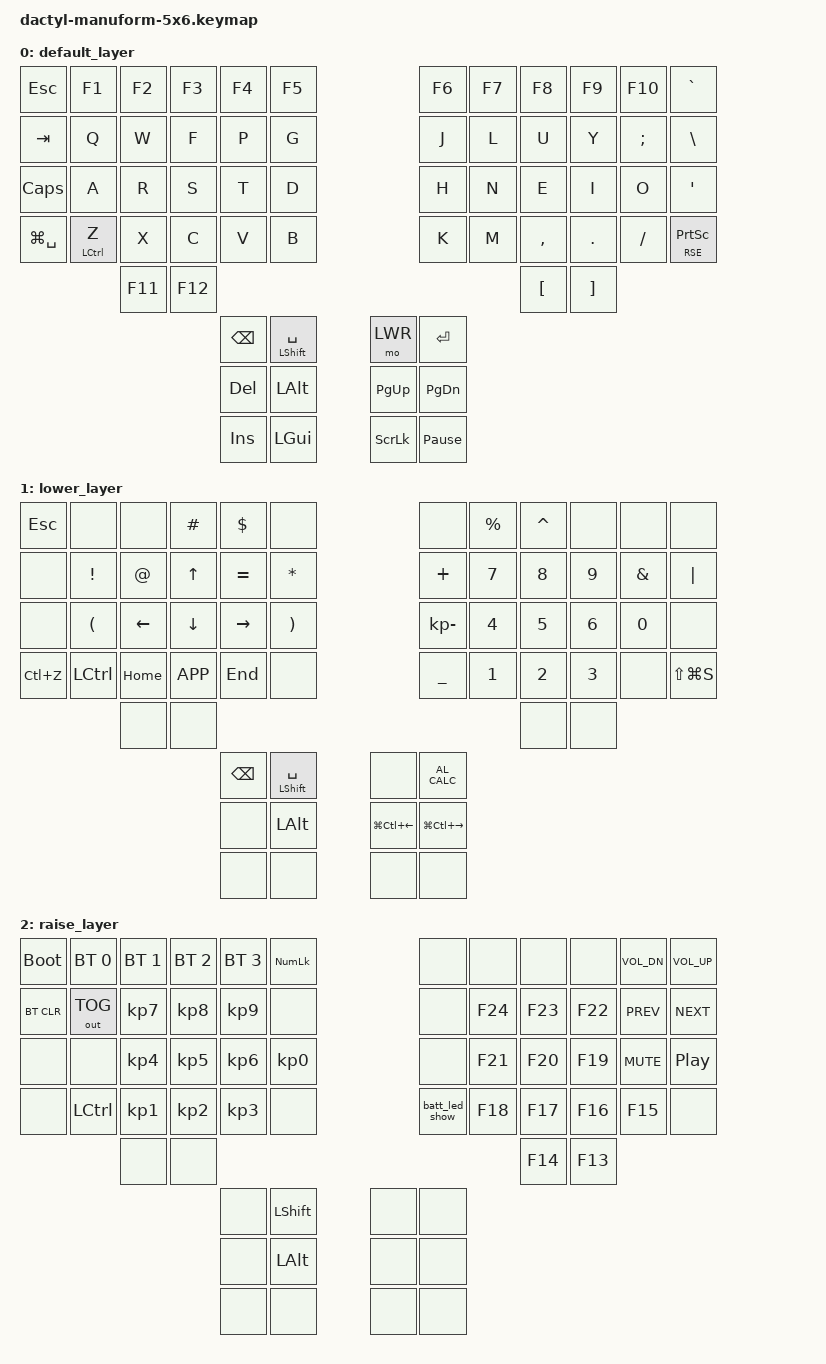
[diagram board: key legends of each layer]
#include <behaviors.dtsi>
#include <dt-bindings/zmk/keys.h>
#include <dt-bindings/zmk/bt.h>
#include <dt-bindings/zmk/outputs.h>

#define DEF 0
#define LWR 1
#define RSE 2

/ {
    behaviors {
        // Show the battery level on the green indicator LED. GLOBAL locality:
        // fires on both halves, each blinking its own LED for its own battery.
        // The node name is kept SHORT (the device name `batshow`, 7 chars) on
        // purpose: ZMK relays a behavior to the peripheral by its device name in
        // a small fixed buffer (ZMK_SPLIT_RUN_BEHAVIOR_DEV_LEN, ~9 bytes). A long
        // name is truncated and the peripheral can't find it, so the right LED
        // never blinks on the hotkey. The `batt_led_show` label is unchanged so
        // the keymap reference below still works.
        batt_led_show: batshow {
            compatible = "zmk,behavior-batt-led";
            #binding-cells = <0>;
        };
    };

    keymap {
        compatible = "zmk,keymap";

        default_layer {
            bindings = <
&kp ESC        &kp F1       &kp F2   &kp F3   &kp F4    &kp F5                       &kp F6     &kp F7   &kp F8     &kp F9   &kp F10   &kp GRAVE
&kp TAB        &kp Q        &kp W    &kp F    &kp P     &kp G                        &kp J      &kp L    &kp U      &kp Y    &kp SEMI  &kp BSLH
&kp CAPS       &kp A        &kp R    &kp S    &kp T     &kp D                        &kp H      &kp N    &kp E      &kp I    &kp O     &kp SQT
&kp LG(SPACE)  &mt LCTRL Z  &kp X    &kp C    &kp V     &kp B                        &kp K      &kp M    &kp COMMA  &kp DOT  &kp FSLH  &lt RSE PSCRN
                            &kp F11  &kp F12                                                             &kp LBKT   &kp RBKT
                                              &kp BSPC  &mt LSHFT SPACE      &mo LWR    &kp RET
                                              &kp DEL   &kp LALT             &kp PG_UP  &kp PG_DN
                                              &kp INS   &kp LGUI             &kp SLCK   &kp PAUSE_BREAK
            >;
        };

        lower_layer {
            bindings = <
&kp ESC     &none      &none      &kp HASH  &kp DLLR   &none                          &none        &kp PRCNT  &kp CARET  &none    &none   &none
&none       &kp EXCL   &kp AT     &kp UP    &kp EQUAL  &kp ASTRK                      &kp PLUS     &kp N7     &kp N8     &kp N9   &kp AMPS  &kp PIPE
&none       &kp LPAR   &kp LEFT   &kp DOWN  &kp RIGHT  &kp RPAR                       &kp KP_MINUS &kp N4     &kp N5     &kp N6   &kp N0    &none
&kp LC(Z)   &kp LCTRL  &kp HOME   &kp K_APP &kp END    &none                          &kp UNDER    &kp N1     &kp N2     &kp N3   &none     &kp LS(LG(S))
                       &none      &none                                                                       &none      &none
                                            &kp BSPC   &mt LSHFT SPACE      &none           &kp C_AL_CALC
                                            &none      &kp LALT             &kp LG(LC(LEFT)) &kp LG(LC(RIGHT))
                                            &none      &none                &none           &none
            >;
        };

        raise_layer {
            bindings = <
&bootloader  &bt BT_SEL 0 &bt BT_SEL 1 &bt BT_SEL 2 &bt BT_SEL 3 &kp KP_NUM            &none   &none &none &none &kp C_VOL_DN &kp C_VOL_UP
&bt BT_CLR   &out OUT_TOG &kp KP_N7    &kp KP_N8    &kp KP_N9    &none                 &none   &kp F24  &kp F23  &kp F22  &kp C_PREV   &kp C_NEXT
&none        &none        &kp KP_N4    &kp KP_N5    &kp KP_N6    &kp KP_N0             &none   &kp F21  &kp F20  &kp F19  &kp C_MUTE   &kp C_PP
&none        &kp LCTRL    &kp KP_N1    &kp KP_N2    &kp KP_N3    &none         &batt_led_show   &kp F18  &kp F17  &kp F16  &kp F15      &none
                          &none        &none                                                            &kp F14  &kp F13
                                                    &none        &kp LSHFT      &none   &none
                                                    &none        &kp LALT       &none   &none
                                                    &none        &none          &none   &none
            >;
        };
    };
};
